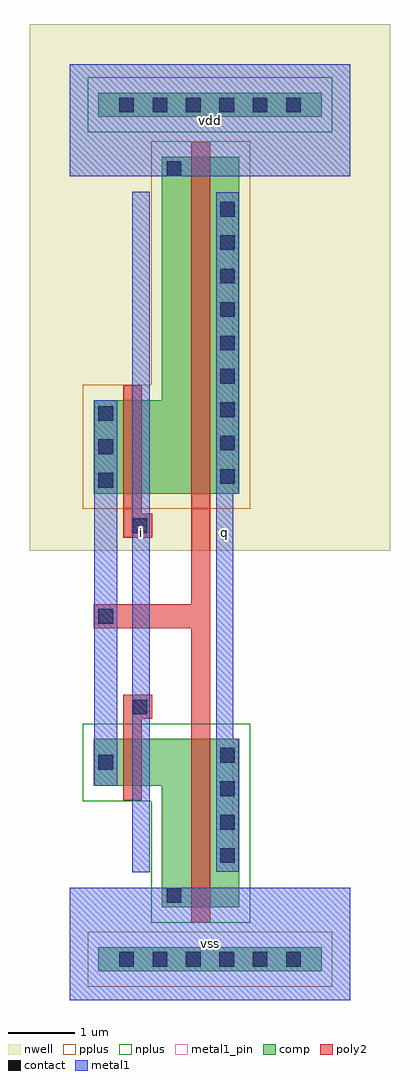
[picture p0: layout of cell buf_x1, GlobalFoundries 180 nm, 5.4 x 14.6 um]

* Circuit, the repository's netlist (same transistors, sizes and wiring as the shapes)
* buf_x1
.subckt buf_x1 vdd vss i q
Mn1 ni i vss vss nfet_03v3 l=0.28um w=0.7um
Mn2_0 vss ni q vss nfet_03v3 l=0.28um w=2.52um
Mp1 ni i vdd vdd pfet_03v3 l=0.28um w=1.4um
Mp2_0 vdd ni q vdd pfet_03v3 l=0.28um w=5.04um
.ends buf_x1

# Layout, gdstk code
import gdstk
lib = gdstk.Library(unit=1e-6, precision=1e-09)
def R(c, l, rs):  # rectangles x0, y0, x1, y1
    for r in rs: c.add(gdstk.rectangle(r[:2], r[2:], *l))
def A(c, l, x, y, w, h, nx, ny, dx, dy):  # array of equal rectangles
    R(c, l, [(x+i*dx, y+j*dy, x+i*dx+w, y+j*dy+h) for i in range(nx) for j in range(ny)])
def P(c, l, *ps):  # polygons
    for p in ps: c.add(gdstk.Polygon(p, *l))
nwell = (21, 0)
comp = (22, 0)
poly2 = (30, 0)
pplus = (31, 0)
nplus = (32, 0)
contact = (33, 0)
metal1 = (34, 0)
metal1_pin = (34, 10)

buf_x1 = lib.new_cell('buf_x1')
R(buf_x1, nwell, [(-0.6,6.72,4.8,14.6)])
R(buf_x1, comp, [(0.43,0.43,3.77,0.79), (0.43,13.21,3.77,13.57)])
P(buf_x1, comp, [(1.38,1.385),(1.38,3.205),(0.36,3.205),(0.36,3.905),(2.54,3.905),(2.54,1.385)],
  [(0.36,7.575),(0.36,8.975),(1.38,8.975),(1.38,12.615),(2.54,12.615),(2.54,7.575)])
P(buf_x1, poly2, [(1.82,1.165),(1.82,5.56),(0.36,5.56),(0.36,5.92),(1.82,5.92),(1.82,12.835),(2.1,12.835),(2.1,1.165)],
  [(0.8,2.985),(0.8,4.565),(1.235,4.565),(1.235,4.205),(1.08,4.205),(1.08,2.985)],
  [(0.8,6.915),(0.8,9.195),(1.08,9.195),(1.08,7.275),(1.235,7.275),(1.235,6.915)])
R(buf_x1, pplus, [(0.27,0.2,3.93,1.02)])
P(buf_x1, pplus, [(0.2,7.345),(0.2,9.205),(1.22,9.205),(1.22,12.845),(2.7,12.845),(2.7,7.345)])
R(buf_x1, nplus, [(0.27,12.98,3.93,13.8)])
P(buf_x1, nplus, [(1.22,1.155),(1.22,2.975),(0.2,2.975),(0.2,4.135),(2.7,4.135),(2.7,1.155)])
A(buf_x1, contact, 0.74, 0.5, 0.22, 0.22, 6, 2, 0.5, 12.78)
A(buf_x1, contact, 2.25, 2.05, 0.22, 0.22, 1, 4, 0, 0.5)
A(buf_x1, contact, 0.43, 7.665, 0.22, 0.22, 1, 3, 0, 0.5)
A(buf_x1, contact, 2.25, 7.72, 0.22, 0.22, 1, 9, 0, 0.5)
R(buf_x1, contact, [(1.45,1.455,1.67,1.675), (0.43,3.445,0.65,3.665), (0.945,4.275,1.165,4.495), (0.43,5.63,0.65,5.85), (0.945,6.985,1.165,7.205), (1.45,12.325,1.67,12.545)])
R(buf_x1, metal1, [(0,0,4.2,1.68), (0.94,1.91,1.2,12.09), (0.37,3.205,0.71,8.975), (0,12.32,4.2,14)])
P(buf_x1, metal1, [(2.19,1.915),(2.19,12.085),(2.53,12.085),(2.53,7.575),(2.45,7.575),(2.45,3.905),(2.53,3.905),(2.53,1.915)])
R(buf_x1, metal1_pin, [(0,0,4.2,1.68), (0.94,1.91,1.2,12.09), (2.19,1.915,2.45,12.085), (0,12.32,4.2,14)])
buf_x1.add(gdstk.Label('vdd', (2.1,13.16), layer=34, texttype=10))
buf_x1.add(gdstk.Label('vss', (2.1,0.84), layer=34, texttype=10))
buf_x1.add(gdstk.Label('i', (1.07,7), layer=34, texttype=10))
buf_x1.add(gdstk.Label('q', (2.32,7), layer=34, texttype=10))

lib.write_gds('buf_x1.gds')
